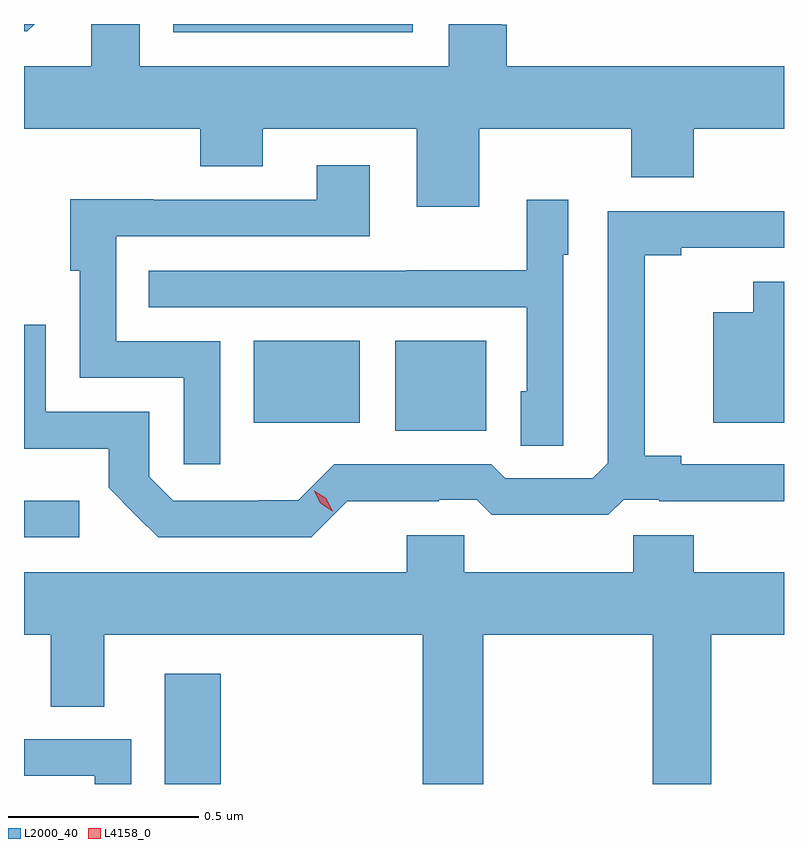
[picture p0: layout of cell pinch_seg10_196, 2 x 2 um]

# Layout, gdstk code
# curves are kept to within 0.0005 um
import gdstk
lib = gdstk.Library(unit=1e-6, precision=1e-09)
def R(c, l, rs):  # rectangles x0, y0, x1, y1
    for r in rs: c.add(gdstk.rectangle(r[:2], r[2:], *l))
def P(c, l, *ps):  # polygons
    for p in ps: c.add(gdstk.Polygon(p, *l))
L2000_40 = (2000, 40)
L4158_0 = (4158, 0)

pinch_seg10_196 = lib.new_cell('pinch_seg10_196')
R(pinch_seg10_196, L2000_40, [(731.894,1257.299,732.041,1257.589), (731.523,1257.948,731.668,1258.045), (732.5,1258.229,732.739,1258.465), (732.128,1258.25,732.406,1258.465), (731.916,1259.277,732.546,1259.299)])
P(pinch_seg10_196, L2000_40, [(732.721,1259.024),(733.121,1259.024),(733.121,1258.896),(733.285,1258.896),(733.285,1259.024),(733.523,1259.024),(733.523,1259.188),(732.794,1259.188),(732.794,1259.297),(732.78,1259.297),(732.78,1259.299),(732.641,1259.299),(732.641,1259.188),(731.827,1259.188),(731.827,1259.299),(731.7,1259.299),(731.7,1259.188),(731.523,1259.188),(731.523,1259.024),(731.987,1259.024),(731.987,1258.925),(732.151,1258.925),(732.151,1259.024),(732.557,1259.024),(732.557,1258.818),(732.721,1258.818)],
  [(731.551,1259.299),(731.523,1259.299),(731.523,1259.28),(731.532,1259.28)],
  [(732.039,1258.464),(731.766,1258.464),(731.766,1258.74),(732.433,1258.74),(732.433,1258.927),(732.293,1258.927),(732.293,1258.836),(731.863,1258.836),(731.863,1258.838),(731.645,1258.838),(731.645,1258.65),(731.67,1258.65),(731.67,1258.368),(731.943,1258.368),(731.943,1258.14),(732.039,1258.14)],
  [(732.942,1258.692),(732.955,1258.692),(732.955,1258.837),(732.846,1258.837),(732.846,1258.651),(732.529,1258.651),(732.529,1258.65),(731.851,1258.65),(731.851,1258.554),(732.846,1258.554),(732.846,1258.332),(732.83,1258.332),(732.83,1258.189),(732.942,1258.189)],
  [(732.374,1258.043),(732.614,1258.043),(732.614,1258.047),(732.714,1258.047),(732.754,1258.008),(733.061,1258.008),(733.101,1258.047),(733.195,1258.047),(733.195,1258.043),(733.523,1258.043),(733.523,1258.14),(733.252,1258.14),(733.252,1258.163),(733.157,1258.163),(733.157,1258.69),(733.252,1258.69),(733.252,1258.71),(733.523,1258.71),(733.523,1258.806),(733.059,1258.806),(733.059,1258.143),(733.02,1258.104),(732.789,1258.104),(732.753,1258.14),(732.339,1258.14),(732.245,1258.046),(732.14,1258.046),(732.14,1258.044),(731.916,1258.044),(731.853,1258.107),(731.853,1258.278),(731.58,1258.278),(731.58,1258.507),(731.523,1258.507),(731.523,1258.181),(731.746,1258.181),(731.746,1258.079),(731.876,1257.948),(732.279,1257.948)],
  [(733.523,1258.621),(733.442,1258.621),(733.442,1258.54),(733.337,1258.54),(733.337,1258.25),(733.523,1258.25)],
  [(732.732,1257.692),(733.177,1257.692),(733.177,1257.299),(733.332,1257.299),(733.332,1257.692),(733.523,1257.692),(733.523,1257.856),(733.286,1257.856),(733.286,1257.954),(733.126,1257.954),(733.126,1257.856),(732.681,1257.856),(732.681,1257.954),(732.53,1257.954),(732.53,1257.856),(731.523,1257.856),(731.523,1257.692),(731.594,1257.692),(731.594,1257.502),(731.734,1257.502),(731.734,1257.692),(732.572,1257.692),(732.572,1257.299),(732.732,1257.299)],
  [(731.805,1257.417),(731.523,1257.417),(731.523,1257.321),(731.709,1257.321),(731.709,1257.299),(731.805,1257.299)])
P(pinch_seg10_196, L4158_0, [(732.334,1258.017),(732.303,1258.038),(732.287,1258.071),(732.287,1258.071),(732.287,1258.071),(732.318,1258.051),(732.335,1258.017),(732.335,1258.017)])

lib.write_gds('pinch_seg10_196.gds')
